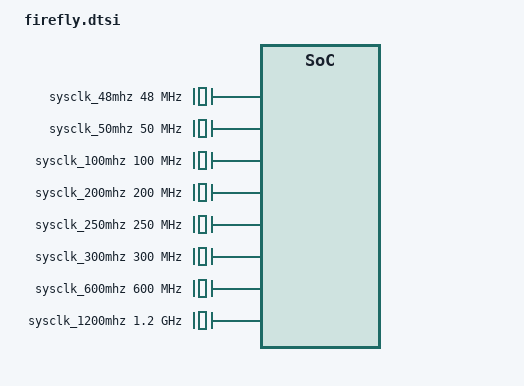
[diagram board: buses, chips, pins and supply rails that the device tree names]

#include <dt-bindings/interrupt-controller/arm-gic.h>

/ {
	compatible = "firefly,pi_v2";
	interrupt-parent = <&gic>;
	#address-cells = <2>;
	#size-cells = <2>;

	aliases {
		serial0 = &uart0;
		serial1 = &uart1;
		serial2 = &uart2;
		serial3 = &uart3;
	};

	psci {
		compatible   = "arm,psci-1.0";
		method       = "smc";
		cpu_suspend  = <0xc4000001>;
		cpu_off      = <0x84000002>;
		cpu_on       = <0xc4000003>;
		sys_poweroff = <0x84000008>;
		sys_reset    = <0x84000009>;
	};

	cpu: cpus {
		#address-cells = <0x2>;
		#size-cells = <0x0>;
	};

	gic: interrupt-controller@30800000 {
		compatible = "arm,gic-v3";
		#interrupt-cells = <3>;
		#address-cells = <2>;
		#size-cells = <2>;
		ranges;
		interrupt-controller;
		reg = <0x0 0x30800000 0 0x20000>,	/* GICD */
		      <0x0 0x30880000 0 0x80000>,	/* GICR */
		      <0x0 0x30840000 0 0x10000>,	/* GICC */
		      <0x0 0x30850000 0 0x10000>,	/* GICH */
		      <0x0 0x30860000 0 0x10000>;	/* GICV */
		interrupts = <GIC_PPI 9 IRQ_TYPE_LEVEL_LOW>;

		its: gic-its@30820000 {
			compatible = "arm,gic-v3-its";
			msi-controller;
			reg = <0x0 0x30820000 0x0 0x20000>;
		};
	};

	pmu {
		compatible = "arm,armv8-pmuv3";
		interrupts = <GIC_PPI 7 IRQ_TYPE_LEVEL_LOW>;
	};

	timer {
		compatible = "arm,armv8-timer";
		interrupts = <GIC_PPI 13 IRQ_TYPE_LEVEL_LOW>,
			     <GIC_PPI 14 IRQ_TYPE_LEVEL_LOW>,
			     <GIC_PPI 11 IRQ_TYPE_LEVEL_LOW>,
			     <GIC_PPI 10 IRQ_TYPE_LEVEL_LOW>;
		clock-frequency = <50000000>;
	};

	clocks {
		#address-cells = <2>;
		#size-cells = <2>;
		ranges;

		sysclk_48mhz: clk48mhz {
			compatible = "fixed-clock";
			#clock-cells = <0>;
			clock-frequency = <48000000>;
		};

		sysclk_50mhz: clk50mhz {
			compatible = "fixed-clock";
			#clock-cells = <0>;
			clock-frequency = <50000000>;
		};

		sysclk_100mhz: clk100mhz {
			compatible = "fixed-clock";
			#clock-cells = <0>;
			clock-frequency = <100000000>;
		};

		sysclk_200mhz: clk200mhz {
			compatible = "fixed-clock";
			#clock-cells = <0>;
			clock-frequency = <200000000>;
		};

		sysclk_250mhz: clk250mhz {
			compatible = "fixed-clock";
			#clock-cells = <0>;
			clock-frequency = <250000000>;
		};

		sysclk_300mhz: clk300mhz {
			compatible = "fixed-clock";
			#clock-cells = <0>;
			clock-frequency = <300000000>;
		};

		sysclk_600mhz: clk600mhz {
			compatible = "fixed-clock";
			#clock-cells = <0>;
			clock-frequency = <600000000>;
		};

		sysclk_1200mhz: clk1200mhz {
			compatible = "fixed-clock";
			#clock-cells = <0>;
			clock-frequency = <1200000000>;
		};
	};

	smmu: iommu@30000000 {
		compatible = "arm,smmu-v3";
		reg = <0x0 0x30000000 0x0 0x800000>;
		interrupts = <GIC_SPI 240 IRQ_TYPE_EDGE_RISING>,
			     <GIC_SPI 239 IRQ_TYPE_EDGE_RISING>,
			     <GIC_SPI 236 IRQ_TYPE_EDGE_RISING>,
			     <GIC_SPI 242 IRQ_TYPE_EDGE_RISING>;
		interrupt-names = "eventq", "priq", "cmdq-sync", "gerror";
		dma-coherent;
		#iommu-cells = <1>;
	};

	soc: soc {
		compatible = "simple-bus";
		#address-cells = <2>;
		#size-cells = <2>;
		dma-coherent;
		ranges;

		uart0: uart@2800c000 {
			compatible = "arm,pl011","arm,primecell";
			reg = <0x0 0x2800c000 0x0 0x1000>;
			interrupts = <GIC_SPI 83 IRQ_TYPE_LEVEL_HIGH>;
			clocks = <&sysclk_100mhz &sysclk_100mhz>;
			clock-names = "uartclk", "apb_pclk";
			current-speed = <115200>;
			status = "disabled";
		};

		uart1: uart@2800d000 {
			compatible = "arm,pl011","arm,primecell";
			reg = <0x0 0x2800d000 0x0 0x1000>;
			interrupts = <GIC_SPI 84 IRQ_TYPE_LEVEL_HIGH>;
			clocks = <&sysclk_100mhz &sysclk_100mhz>;
			clock-names = "uartclk", "apb_pclk";
			current-speed = <115200>;
			status = "disabled";
		};

		uart2: uart@2800e000 {
			compatible = "arm,pl011","arm,primecell";
			reg = <0x0 0x2800e000 0x0 0x1000>;
			interrupts = <GIC_SPI 85 IRQ_TYPE_LEVEL_HIGH>;
			clocks = <&sysclk_100mhz &sysclk_100mhz>;
			clock-names = "uartclk", "apb_pclk";
			current-speed = <115200>;
			status = "disabled";
		};

		uart3: uart@2800f000 {
			compatible = "arm,pl011","arm,primecell";
			reg = <0x0 0x2800f000 0x0 0x1000>;
			interrupts = <GIC_SPI 86 IRQ_TYPE_LEVEL_HIGH>;
			clocks = <&sysclk_100mhz &sysclk_100mhz>;
			clock-names = "uartclk", "apb_pclk";
			current-speed = <115200>;
			status = "disabled";
		};

		watchdog0: watchdog@28040000 {
			compatible = "arm,sbsa-gwdt";
			reg = <0x0 0x28041000 0x0 0x1000>,
			      <0x0 0x28040000 0x0 0x1000>;
			interrupts = <GIC_SPI 164 IRQ_TYPE_LEVEL_HIGH>;
			timeout-sec = <30>;
			status = "disabled";
		};

		watchdog1: watchdog@28042000 {
			compatible = "arm,sbsa-gwdt";
			reg = <0x0 0x28043000 0x0 0x1000>,
			      <0x0 0x28042000 0x0 0x1000>;
			interrupts = <GIC_SPI 165 IRQ_TYPE_LEVEL_HIGH>;
			timeout-sec = <30>;
			status = "disabled";
		};

		pcie: pcie@40000000 {
			compatible = "pci-host-ecam-generic";
			device_type = "pci";
			#address-cells = <3>;
			#size-cells = <2>;
			#interrupt-cells = <1>;
			reg = <0x0 0x40000000 0x0 0x10000000>;
			msi-parent = <&its>;
			bus-range = <0x0 0xff>;
			interrupt-map-mask = <0x0 0x0 0x0 0x7>;
			interrupt-map = <0x0 0x0 0x0 0x1 &gic 0x0 0x0 GIC_SPI 4 IRQ_TYPE_LEVEL_HIGH>,
					<0x0 0x0 0x0 0x2 &gic 0x0 0x0 GIC_SPI 5 IRQ_TYPE_LEVEL_HIGH>,
					<0x0 0x0 0x0 0x3 &gic 0x0 0x0 GIC_SPI 6 IRQ_TYPE_LEVEL_HIGH>,
					<0x0 0x0 0x0 0x4 &gic 0x0 0x0 GIC_SPI 7 IRQ_TYPE_LEVEL_HIGH>;
			ranges = <0x01000000 0x00 0x00000000 0x0  0x50000000  0x0  0x00f00000>,
				 <0x02000000 0x00 0x58000000 0x0  0x58000000  0x0  0x28000000>,
				 <0x03000000 0x10 0x00000000 0x10 0x00000000 0x10  0x00000000>;
			iommu-map = <0x0 &smmu 0x0 0x10000>;
			status = "disabled";
		};
	};
};
